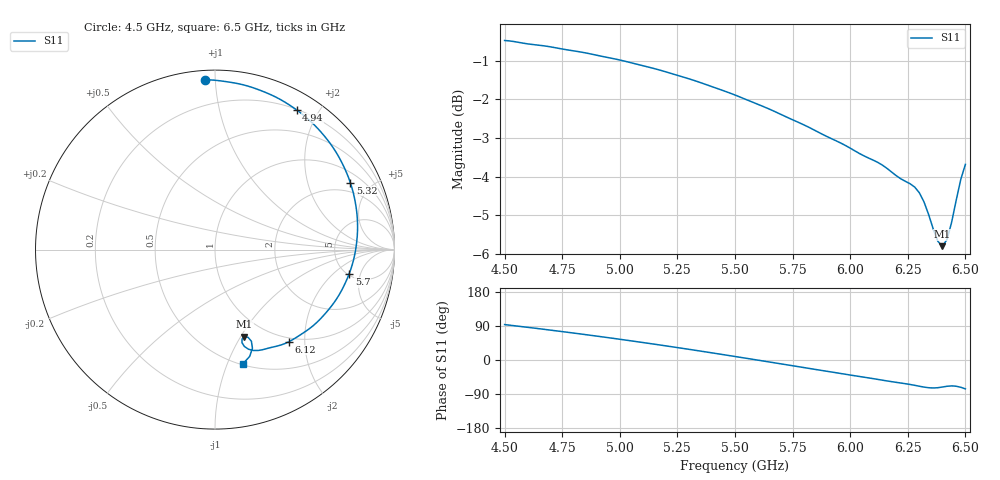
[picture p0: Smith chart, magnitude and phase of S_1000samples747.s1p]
! TOUCHSTONE file generated by CST MICROWAVE STUDIO
! Date and time: Sat Oct 29 06:10:47 2022
! Project name: L.cst
! Parameters = {Di=1.27; Epsilon_r=1.56; InnerDiameter=1.27; Length=2; Lf=10; Lg=60; OuterConductorThickness=0.2921; OuterDiameter=3.6; Wf=3; Wp=41.2; de=1.5; df=6.8; g=0.8; gx=1.16212; gy=4.47305; h=2.34; hf=1.524; px=8.94223; py=14.3287; w=9.7; wx=7.78011; wy=9.85568}
! Header version: 2018
! Port assignment regex: !\s*Touchstone port\s*([0-9]+)\s*=\s*(CST MWS port|CST DS port)\s*([0-9]+|Zmin|Zmax)\s*\(\"(.*)\"\)(\s*mode\s*([0-9]+))?.*
! Touchstone port assignment:
! Touchstone port 1 = CST MWS port 1 ("")
# GHz S DB R 50
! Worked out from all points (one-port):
!   101 points, 4.5 GHz to 6.5 GHz, reference 50 ohm
!   lowest |S11| = -5.8 dB at 6.4 GHz (marker M1), VSWR 3.10, Z = 39.4 - j51.9 ohm
!   |S11| at or under -10 dB: nowhere
!   S11 on the Smith chart (normalised r, x): 4.5 GHz: 0.05, +0.94; 4.94 GHz: 0.21, +1.72; 5.32 GHz: 1.47, +3.74; 5.7 GHz: 5.16, -3.29; 6.12 GHz: 0.93, -1.69; 6.5 GHz: 0.51, -1.14
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4.5  -0.47 93.5
4.64  -0.59 83.3
4.76  -0.70 74.2
4.84  -0.78 67.9
4.94  -0.90 59.7
5  -0.98 54.7
5.14  -1.18 42.6
5.26  -1.39 31.8
5.32  -1.50 26.3
5.42  -1.71 16.9
5.5  -1.88 9.3
5.6  -2.13 -0.4
5.7  -2.39 -10.2
5.76  -2.55 -16.1
5.88  -2.91 -27.9
6  -3.26 -39.7
6.12  -3.63 -51.2
6.26  -4.19 -64.6
6.3  -4.42 -69.2
6.34  -4.98 -73.1
6.36  -5.35 -73.8
6.38  -5.68 -73.2
6.4  -5.81 -71.3
6.42  -5.64 -69.3
6.44  -5.19 -68.3
6.46  -4.62 -69.2
6.48  -4.07 -72.0
6.5  -3.68 -76.2
